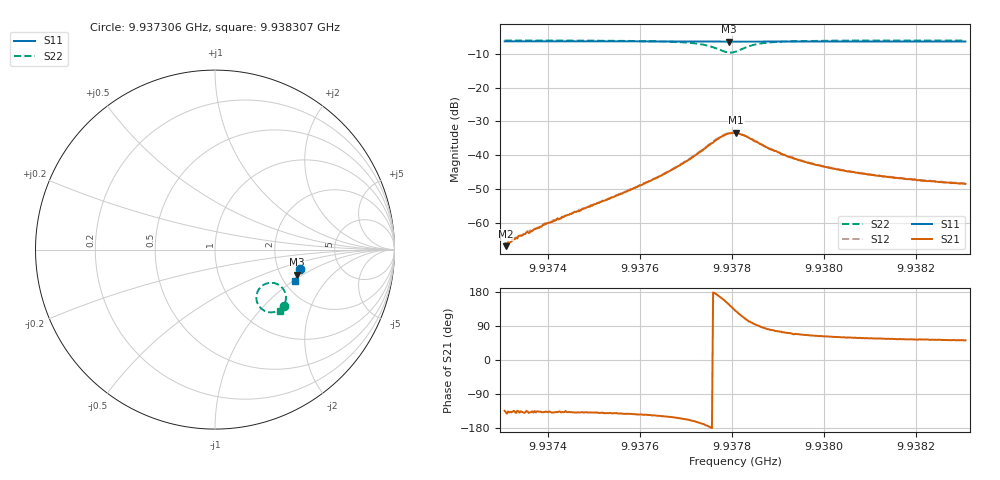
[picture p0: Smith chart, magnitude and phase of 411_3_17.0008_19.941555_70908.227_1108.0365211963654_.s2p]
#  HZ  S  RI  R  50.00
! Rohde & Schwarz Vector Network Analyzer
! Rohde-Schwarz,ZNB20-2Port,1311601062101988,3.16
! Created: UTC 3/20/2024, 11:10:28 PM
! freq[Hz]  re:S11  im:S11  re:S21  im:S21  re:S12  im:S12  re:S22  im:S22
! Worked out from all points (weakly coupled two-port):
!   401 points, 9.937306 GHz to 9.938307 GHz, reference 50 ohm
!   highest |S21| = -33.36 dB at 9.937809 GHz (marker M1); lowest = -66.9 dB at 9.937308 GHz (marker M2)
!   lowest |S11| = -6.4 dB at 9.937794 GHz (marker M3), VSWR 2.84, Z = 123 - j44.6 ohm
!   |S11| at or under -10 dB: nowhere
!   |S22| runs from -9.7 to -6.1 dB; largest |S21 - S12| = 0.00088
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9.9373055e9  0.4711 -0.1087  -0.000343 -0.000355  -0.000365 -0.00031  0.3838 -0.317
9.937308e9  0.4711 -0.109  -0.000333 -0.000308  -0.000372 -0.000344  0.3833 -0.3173
9.937313e9  0.471 -0.1093  -0.000362 -0.000352  -0.000381 -0.000357  0.3833 -0.3176
9.9373406e9  0.4704 -0.1112  -0.00046 -0.000455  -0.000474 -0.000457  0.3811 -0.3196
9.9373581e9  0.47 -0.1124  -0.000543 -0.000462  -0.000529 -0.000475  0.3796 -0.321
9.9373931e9  0.4693 -0.1147  -0.000716 -0.000675  -0.000704 -0.000629  0.3767 -0.3235
9.9374732e9  0.4676 -0.12  -0.00117 -0.00107  -0.00122 -0.00105  0.3686 -0.3301
9.9375884e9  0.4649 -0.1279  -0.0026 -0.00198  -0.0027 -0.00195  0.3503 -0.3411
9.937641e9  0.4635 -0.1312  -0.00406 -0.00263  -0.00419 -0.0026  0.3358 -0.3467
9.937691e9  0.4621 -0.1348  -0.00674 -0.00319  -0.00694 -0.00309  0.3112 -0.3495
9.9377386e9  0.4605 -0.1377  -0.0122 -0.00236  -0.0124 -0.00197  0.2674 -0.3361
9.9377712e9  0.4588 -0.1393  -0.0174 0.00356  -0.0177 0.004  0.2322 -0.2845
9.9377937e9  0.458 -0.1399  -0.0175 0.012  -0.0172 0.0126  0.2455 -0.2195
9.9378062e9  0.4581 -0.14  -0.0141 0.0161  -0.0139 0.0167  0.2774 -0.1929
9.9378087e9  0.4582 -0.1402  -0.0134 0.0168  -0.0129 0.0173  0.2848 -0.1895
9.9378337e9  0.4584 -0.1414  -0.00458 0.0179  -0.0043 0.0182  0.352 -0.195
9.9378613e9  0.4586 -0.1434  0.000536 0.0146  0.00092 0.0148  0.3856 -0.2288
9.9379164e9  0.4575 -0.1476  0.00308 0.00946  0.00337 0.0095  0.3949 -0.2756
9.9379739e9  0.4561 -0.1515  0.00321 0.00675  0.0034 0.00678  0.3896 -0.2993
9.938049e9  0.4544 -0.1567  0.00299 0.00499  0.00313 0.00502  0.3815 -0.3156
9.9381417e9  0.4519 -0.1627  0.00266 0.00393  0.00279 0.00395  0.3729 -0.328
9.9383069e9  0.4472 -0.1732  0.00232 0.00298  0.00241 0.00299  0.3604 -0.3424
